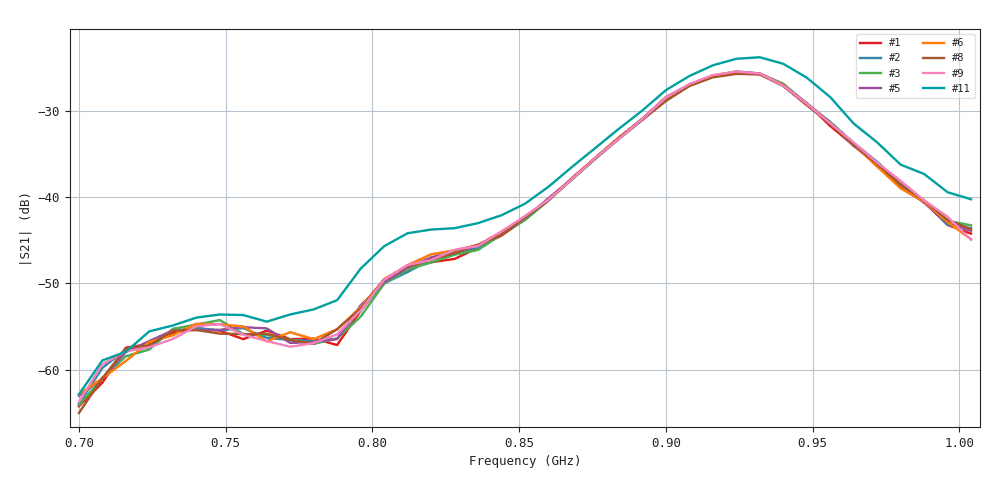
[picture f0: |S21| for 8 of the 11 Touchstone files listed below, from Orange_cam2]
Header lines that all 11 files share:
# Hz S RI R 50
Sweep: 700 MHz to 1.004 GHz
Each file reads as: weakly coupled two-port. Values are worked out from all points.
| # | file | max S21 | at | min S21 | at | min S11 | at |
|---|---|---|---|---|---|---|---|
| 1 | cam41.s2p | -25.58 dB | 924 MHz | -64.2 dB | 700 MHz | -17.4 dB | 932 MHz |
| 2 | cam42.s2p | -25.65 dB | 924 MHz | -63.9 dB | 700 MHz | -17.8 dB | 932 MHz |
| 3 | cam43.s2p | -25.46 dB | 924 MHz | -64.1 dB | 700 MHz | -17.8 dB | 932 MHz |
| 4 | cam44.s2p | -25.41 dB | 924 MHz | -62.8 dB | 700 MHz | -17.4 dB | 932 MHz |
| 5 | cam45.s2p | -25.53 dB | 924 MHz | -63.0 dB | 700 MHz | -18.4 dB | 932 MHz |
| 6 | cam46.s2p | -25.63 dB | 924 MHz | -62.9 dB | 700 MHz | -18.7 dB | 932 MHz |
| 7 | cam47.s2p | -25.48 dB | 924 MHz | -62.5 dB | 708 MHz | -18.8 dB | 932 MHz |
| 8 | cam48.s2p | -25.76 dB | 924 MHz | -65.0 dB | 700 MHz | -19.4 dB | 932 MHz |
| 9 | cam49.s2p | -25.49 dB | 924 MHz | -63.7 dB | 700 MHz | -19.1 dB | 932 MHz |
| 10 | cam50.s2p | -25.52 dB | 924 MHz | -64.5 dB | 700 MHz | -18.3 dB | 932 MHz |
| 11 | moitruongcam.s2p | -23.84 dB | 932 MHz | -62.9 dB | 700 MHz | -18.7 dB | 932 MHz |
